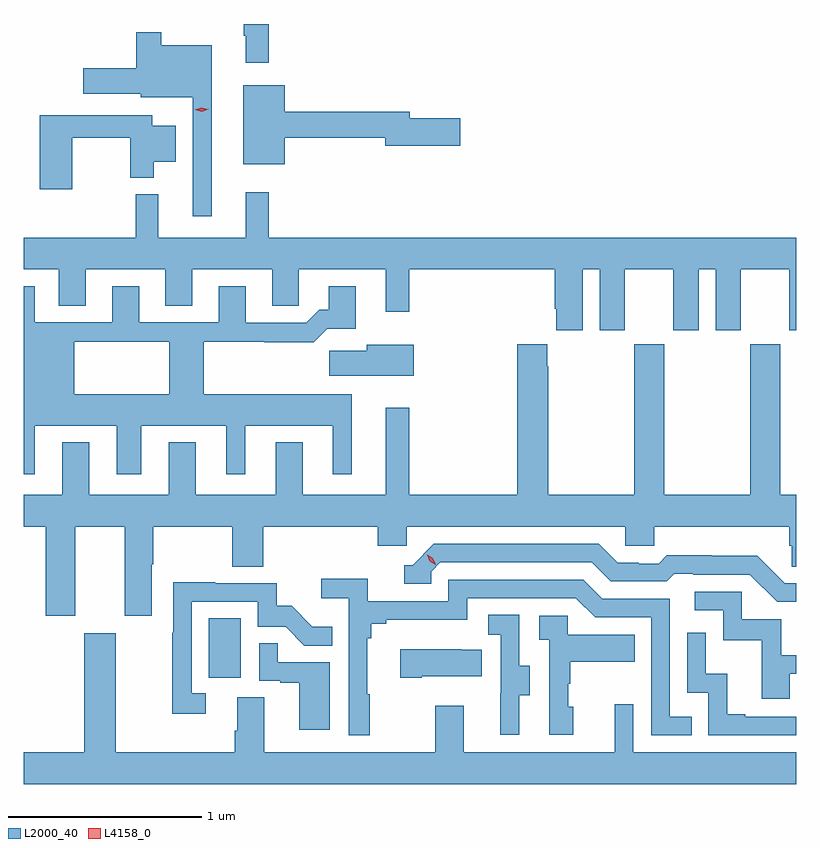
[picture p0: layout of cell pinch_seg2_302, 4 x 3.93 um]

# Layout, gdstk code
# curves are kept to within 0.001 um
import gdstk
lib = gdstk.Library(unit=1e-6, precision=1e-09)
def R(c, l, rs):  # rectangles x0, y0, x1, y1
    for r in rs: c.add(gdstk.rectangle(r[:2], r[2:], *l))
def P(c, l, *ps):  # polygons
    for p in ps: c.add(gdstk.Polygon(p, *l))
L2000_40 = (2000, 40)
L4158_0 = (4158, 0)

pinch_seg2_302 = lib.new_cell('pinch_seg2_302')
R(pinch_seg2_302, L2000_40, [(901.694,638.862,901.858,639.169)])
P(pinch_seg2_302, L2000_40, [(902.003,642.245),(901.875,642.245),(901.875,642.185),(901.886,642.185),(901.886,642.045),(902.003,642.045)],
  [(901.708,642.136),(901.447,642.136),(901.447,642.202),(901.318,642.202),(901.318,642.015),(901.044,642.015),(901.044,641.885),(901.341,641.885),(901.341,641.867),(901.611,641.867),(901.611,641.25),(901.708,641.25)],
  [(902.086,641.656),(902.606,641.656),(902.606,641.614),(902.995,641.614),(902.995,641.756),(902.734,641.756),(902.734,641.792),(902.086,641.792),(902.086,641.929),(901.871,641.929),(901.871,641.519),(902.086,641.519)],
  [(900.988,641.656),(901.286,641.656),(901.286,641.45),(901.408,641.45),(901.408,641.531),(901.522,641.531),(901.522,641.719),(901.402,641.719),(901.402,641.772),(900.818,641.772),(900.818,641.391),(900.988,641.391)],
  [(903.628,640.976),(903.716,640.976),(903.716,640.659),(903.847,640.659),(903.847,640.976),(904.097,640.976),(904.097,640.659),(904.228,640.659),(904.228,640.976),(904.316,640.976),(904.316,640.659),(904.447,640.659),(904.447,640.976),(904.697,640.976),(904.697,640.659),(904.735,640.659),(904.735,641.14),(902.003,641.14),(902.003,641.374),(901.886,641.374),(901.886,641.14),(901.433,641.14),(901.433,641.365),(901.315,641.365),(901.315,641.14),(900.735,641.14),(900.735,640.976),(900.917,640.976),(900.917,640.786),(901.057,640.786),(901.057,640.976),(901.469,640.976),(901.469,640.786),(901.609,640.786),(901.609,640.976),(902.021,640.976),(902.021,640.786),(902.16,640.786),(902.16,640.976),(902.609,640.976),(902.609,640.755),(902.731,640.755),(902.731,640.976),(903.485,640.976),(903.485,640.771),(903.491,640.771),(903.491,640.659),(903.628,640.659)],
  [(900.793,639.915),(900.793,640.166),(901.217,640.166),(901.217,639.915),(901.345,639.915),(901.345,640.166),(901.784,640.166),(901.784,639.915),(901.882,639.915),(901.882,640.166),(902.336,640.166),(902.336,639.915),(902.434,639.915),(902.434,640.33),(901.667,640.33),(901.667,640.6),(901.981,640.6),(901.981,640.598),(902.237,640.598),(902.306,640.667),(902.455,640.667),(902.455,640.888),(902.315,640.888),(902.315,640.765),(902.266,640.765),(902.199,640.698),(901.885,640.698),(901.885,640.888),(901.745,640.888),(901.745,640.701),(901.333,640.701),(901.333,640.888),(901.193,640.888),(901.193,640.701),(900.793,640.701),(900.793,640.888),(900.735,640.888),(900.735,640.33),(900.997,640.33),(900.997,640.6),(901.489,640.6),(901.489,640.33),(900.735,640.33),(900.735,639.915)],
  [(901.075,640.081),(900.935,640.081),(900.935,639.808),(900.735,639.808),(900.735,639.644),(900.851,639.644),(900.851,639.183),(901.003,639.183),(901.003,639.644),(901.259,639.644),(901.259,639.183),(901.399,639.183),(901.399,639.448),(901.407,639.448),(901.407,639.644),(901.816,639.644),(901.816,639.436),(901.976,639.436),(901.976,639.644),(902.567,639.644),(902.567,639.546),(902.718,639.546),(902.718,639.644),(903.849,639.644),(903.849,639.546),(903.999,639.546),(903.999,639.644),(904.697,639.644),(904.697,639.546),(904.711,639.546),(904.711,639.436),(904.735,639.436),(904.735,639.808),(904.65,639.808),(904.65,640.588),(904.495,640.588),(904.495,639.808),(904.05,639.808),(904.05,640.588),(903.895,640.588),(903.895,639.808),(903.45,639.808),(903.45,640.475),(903.445,640.475),(903.445,640.588),(903.29,640.588),(903.29,639.808),(902.731,639.808),(902.731,640.258),(902.609,640.258),(902.609,639.808),(902.179,639.808),(902.179,640.081),(902.039,640.081),(902.039,639.808),(901.627,639.808),(901.627,640.081),(901.487,640.081),(901.487,639.808),(901.075,639.808)],
  [(902.755,640.585),(902.51,640.585),(902.51,640.553),(902.316,640.553),(902.316,640.424),(902.755,640.424)],
  [(904.735,639.351),(904.674,639.351),(904.532,639.493),(904.296,639.493),(904.296,639.496),(904.063,639.496),(904.021,639.453),(903.918,639.453),(903.918,639.456),(903.811,639.456),(903.712,639.555),(902.859,639.555),(902.748,639.444),(902.705,639.444),(902.705,639.348),(902.844,639.348),(902.844,639.411),(902.892,639.459),(903.675,639.459),(903.774,639.36),(904.063,639.36),(904.102,639.399),(904.201,639.399),(904.201,639.396),(904.494,639.396),(904.635,639.255),(904.735,639.255)],
  [(902.527,638.777),(902.515,638.777),(902.515,639.065),(902.534,639.065),(902.534,639.142),(902.611,639.142),(902.611,639.161),(903.03,639.161),(903.03,639.273),(903.594,639.273),(903.693,639.174),(903.984,639.174),(903.984,638.565),(904.193,638.565),(904.193,638.661),(904.08,638.661),(904.08,639.27),(903.73,639.27),(903.631,639.369),(902.934,639.369),(902.934,639.258),(902.516,639.258),(902.516,639.374),(902.277,639.374),(902.277,639.272),(902.418,639.272),(902.418,638.565),(902.527,638.565)],
  [(901.678,638.781),(901.605,638.781),(901.605,639.255),(901.947,639.255),(901.947,639.126),(902.091,639.126),(902.189,639.028),(902.333,639.028),(902.333,639.127),(902.229,639.127),(902.122,639.234),(902.046,639.234),(902.046,639.351),(901.727,639.351),(901.727,639.356),(901.509,639.356),(901.509,639.095),(901.504,639.095),(901.504,638.676),(901.678,638.676)],
  [(904.699,638.883),(904.735,638.883),(904.735,638.979),(904.657,638.979),(904.657,639.165),(904.452,639.165),(904.452,639.306),(904.209,639.306),(904.209,639.21),(904.356,639.21),(904.356,639.057),(904.555,639.057),(904.555,638.754),(904.699,638.754)],
  [(903.301,638.77),(903.355,638.77),(903.355,638.925),(903.3,638.925),(903.3,639.188),(903.141,639.188),(903.141,639.085),(903.204,639.085),(903.204,638.781),(903.203,638.781),(903.203,638.568),(903.301,638.568)],
  [(903.58,638.712),(903.555,638.712),(903.555,638.831),(903.565,638.831),(903.565,638.945),(903.899,638.945),(903.899,639.085),(903.552,639.085),(903.552,639.183),(903.405,639.183),(903.405,639.059),(903.456,639.059),(903.456,638.568),(903.58,638.568)],
  [(904.735,638.661),(904.471,638.661),(904.471,638.674),(904.376,638.674),(904.376,638.882),(904.266,638.882),(904.266,639.094),(904.17,639.094),(904.17,638.784),(904.278,638.784),(904.278,638.565),(904.735,638.565)],
  [(904.735,638.476),(903.891,638.476),(903.891,638.725),(903.794,638.725),(903.794,638.476),(903.013,638.476),(903.013,638.716),(902.866,638.716),(902.866,638.476),(901.981,638.476),(901.981,638.762),(901.841,638.762),(901.841,638.588),(901.829,638.588),(901.829,638.476),(901.213,638.476),(901.213,639.091),(901.049,639.091),(901.049,638.476),(900.735,638.476),(900.735,638.312),(904.735,638.312)],
  [(902.32,638.943),(902.051,638.943),(902.051,639.041),(901.956,639.041),(901.956,638.847),(902.063,638.847),(902.063,638.835),(902.162,638.835),(902.162,638.592),(902.32,638.592)],
  [(902.797,638.87),(903.107,638.87),(903.107,639.007),(902.999,639.007),(902.999,639.01),(902.685,639.01),(902.685,638.863),(902.797,638.863)])
P(pinch_seg2_302, L4158_0, [(901.658,641.792),(901.622,641.8),(901.621,641.8),(901.622,641.8),(901.656,641.812),(901.692,641.805),(901.693,641.805),(901.692,641.805)],
  [(902.869,639.446),(902.838,639.466),(902.823,639.499),(902.823,639.499),(902.823,639.499),(902.854,639.479),(902.869,639.446),(902.869,639.446)])

lib.write_gds('pinch_seg2_302.gds')
